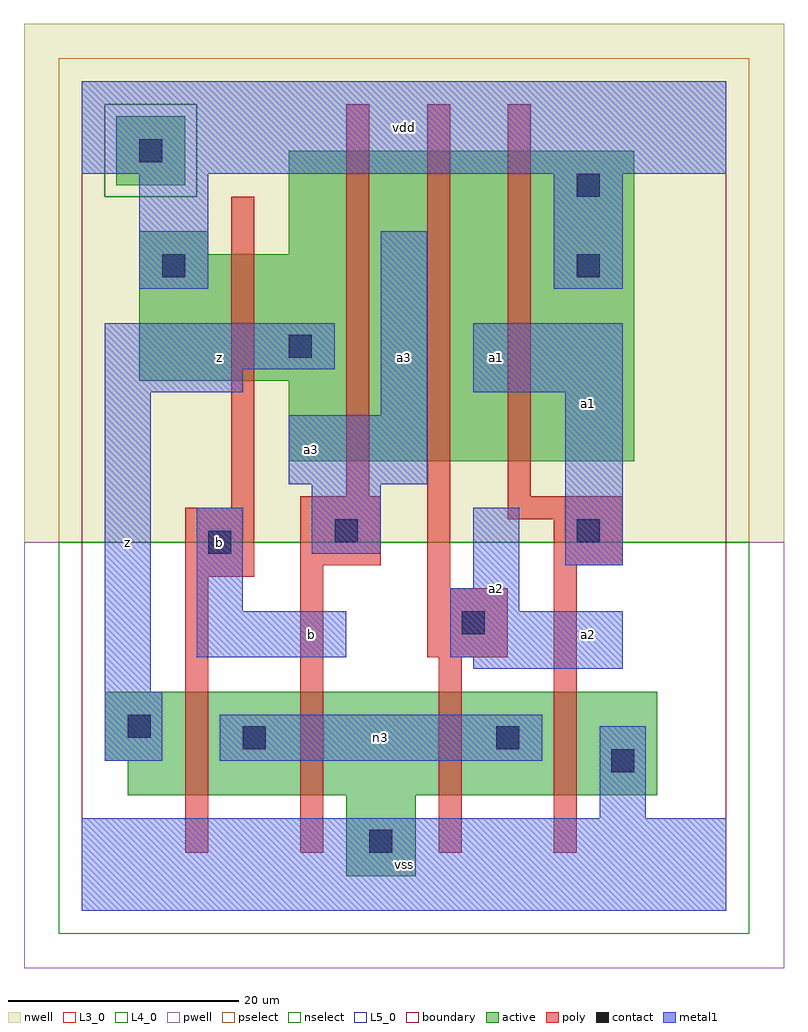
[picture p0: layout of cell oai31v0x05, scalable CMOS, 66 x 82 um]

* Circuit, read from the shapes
.subckt oai31v0x05 a1 a2 a3 b n3 vdd vss z
M1 n3 b z VSUBS nfet w=9u l=2u
M2 vss a3 n3 VSUBS nfet w=9u l=2u
M3 n3 a2 vss VSUBS nfet w=9u l=2u
M4 vss a1 n3 VSUBS nfet w=9u l=2u
M5 z b vdd vdd pfet w=11u l=2u
M6 n1 a3 z vdd pfet w=27u l=2u
M7 n2 a2 n1 vdd pfet w=27u l=2u
M8 vdd a1 n2 vdd pfet w=27u l=2u
.ends

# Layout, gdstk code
import gdstk
lib = gdstk.Library(unit=1e-6, precision=1e-09)
def R(c, l, rs):  # rectangles x0, y0, x1, y1
    for r in rs: c.add(gdstk.rectangle(r[:2], r[2:], *l))
L3_0 = (3, 0)
L4_0 = (4, 0)
L5_0 = (5, 0)
contact = (25, 0)
pwell = (41, 0)
nwell = (42, 0)
active = (43, 0)
pselect = (44, 0)
nselect = (45, 0)
poly = (46, 0)
metal1 = (49, 0)
boundary = (63, 0)

oai31v0x05 = lib.new_cell('oai31v0x05')
R(oai31v0x05, L3_0, [(23,3,29,10), (4,10,50,13), (2,13,50,19)])
R(oai31v0x05, L4_0, [(18,39,48,46), (5,46,48,57), (5,57,11,59), (18,57,48,66)])
R(oai31v0x05, L5_0, [(3,63,9,69)])
R(oai31v0x05, contact, [(25,5,27,7), (46,12,48,14), (14,14,16,16), (36,14,38,16), (4,15,6,17), (33,24,35,26), (11,31,13,33), (22,32,24,34), (43,32,45,34), (18,48,20,50), (7,55,9,57), (43,55,45,57), (43,62,45,64), (5,65,7,67)])
R(oai31v0x05, pwell, [(-5,-5,61,32)])
R(oai31v0x05, nwell, [(-5,32,61,77)])
R(oai31v0x05, active, [(23,3,29,10), (4,10,50,13), (2,13,50,19), (18,39,48,46), (5,46,48,57), (5,57,11,59), (18,57,48,66), (3,63,9,69)])
R(oai31v0x05, pselect, [(-2,32,58,62), (-2,62,2,70), (10,62,58,70), (-2,70,58,74)])
R(oai31v0x05, nselect, [(-2,-2,58,32), (2,62,10,70)])
R(oai31v0x05, poly, [(9,5,11,29), (19,5,21,30), (31,5,33,22), (41,5,43,30), (30,22,37,28), (30,28,32,70), (9,29,15,35), (19,30,26,36), (41,30,47,34), (37,34,47,36), (13,35,15,62), (23,36,25,70), (37,36,39,70)])
R(oai31v0x05, metal1, [(0,0,56,8), (45,8,49,16), (2,13,7,19), (12,13,40,17), (2,19,6,45), (34,21,47,22), (10,22,23,26), (32,22,47,26), (10,26,14,35), (32,26,38,28), (34,28,38,35), (42,30,47,45), (20,31,26,37), (18,37,30,43), (26,43,30,59), (2,45,14,47), (34,45,47,51), (2,47,22,51), (5,54,11,64), (41,54,47,64), (0,64,56,72)])
R(oai31v0x05, boundary, [(0,0,56,72)])
oai31v0x05.add(gdstk.Label('n3', (26,15), layer=49, texttype=0))
oai31v0x05.add(gdstk.Label('z', (4,32), layer=49, texttype=0))
oai31v0x05.add(gdstk.Label('b', (12,32), layer=49, texttype=0))
oai31v0x05.add(gdstk.Label('b', (20,24), layer=49, texttype=0))
oai31v0x05.add(gdstk.Label('a3', (20,40), layer=49, texttype=0))
oai31v0x05.add(gdstk.Label('z', (12,48), layer=49, texttype=0))
oai31v0x05.add(gdstk.Label('vss', (28,4), layer=49, texttype=0))
oai31v0x05.add(gdstk.Label('a2', (36,28), layer=49, texttype=0))
oai31v0x05.add(gdstk.Label('a3', (28,48), layer=49, texttype=0))
oai31v0x05.add(gdstk.Label('a1', (36,48), layer=49, texttype=0))
oai31v0x05.add(gdstk.Label('vdd', (28,68), layer=49, texttype=0))
oai31v0x05.add(gdstk.Label('a2', (44,24), layer=49, texttype=0))
oai31v0x05.add(gdstk.Label('a1', (44,44), layer=49, texttype=0))

lib.write_gds('oai31v0x05.gds')
